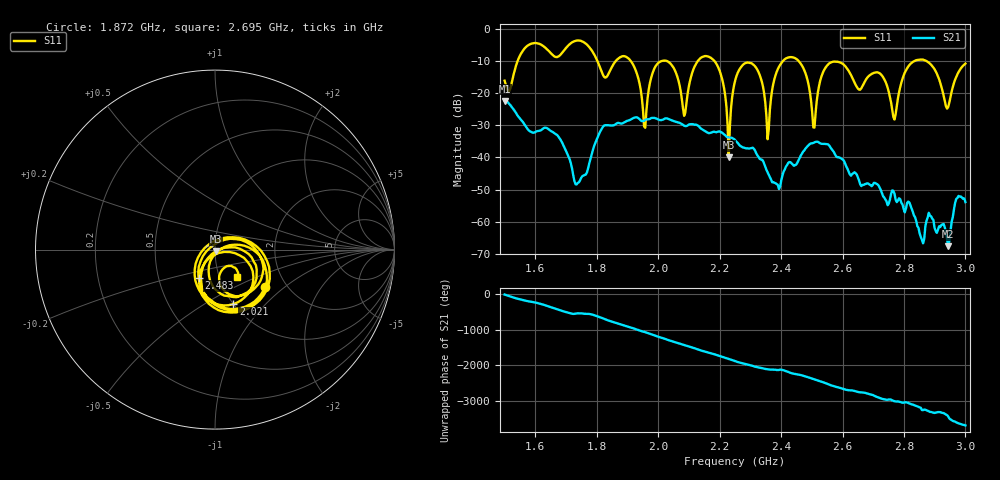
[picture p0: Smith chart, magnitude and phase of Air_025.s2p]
# HZ S RI R 50
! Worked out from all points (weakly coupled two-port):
!   404 points, 1.5 GHz to 3 GHz, reference 50 ohm
!   highest |S21| = -22.41 dB at 1.5 GHz (marker M1); lowest = -67.6 dB at 2.944 GHz (marker M2)
!   lowest |S11| = -40.0 dB at 2.23 GHz (marker M3), VSWR 1.02, Z = 50.3 - j0.943 ohm
!   |S11| at or under -10 dB: 2.183 GHz to 2.406 GHz (223.5 MHz wide, 9.74 % of centre); 2.457 GHz to 2.835 GHz (377.7 MHz wide, 14.3 % of centre); 2.873 GHz to end of sweep (the widest 3 of 7)
!   S12 and S22 are empty: the file has one direction only
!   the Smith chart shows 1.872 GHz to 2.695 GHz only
!   S11 on the Smith chart (normalised r, x): 1.872 GHz: 1.56, -0.75; 2.021 GHz: 1.00, -0.68; 2.483 GHz: 0.79, -0.26; 2.695 GHz: 1.22, -0.39
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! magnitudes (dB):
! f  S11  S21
! 1.5 GHz  -16.1  -22.4
! 1.753 GHz  -3.9  -45.8
! 1.872 GHz  -9.1  -29.3
! 1.958 GHz  -30.8  -28.3
! 2.002 GHz  -10.4  -28.3
! 2.021 GHz  -9.9  -27.9
! 2.084 GHz  -27.1  -30.1
! 2.177 GHz  -9.5  -32.1
! 2.23 GHz  -40.0  -33.8
! 2.252 GHz  -15.6  -34.8
! 2.315 GHz  -11.7  -37.8
! 2.356 GHz  -34.3  -44.6
! 2.408 GHz  -9.8  -44.5
! 2.483 GHz  -14.8  -36.9
! 2.501 GHz  -25.9  -35.6
! 2.561 GHz  -10.5  -36.9
! 2.695 GHz  -14.0  -49.0
! 2.751 GHz  -19.6  -54.4
! 2.769 GHz  -28.2  -51.3
! 2.862 GHz  -9.6  -66.8
! 2.944 GHz  -24.3  -67.6
! 3 GHz  -10.8  -53.9
